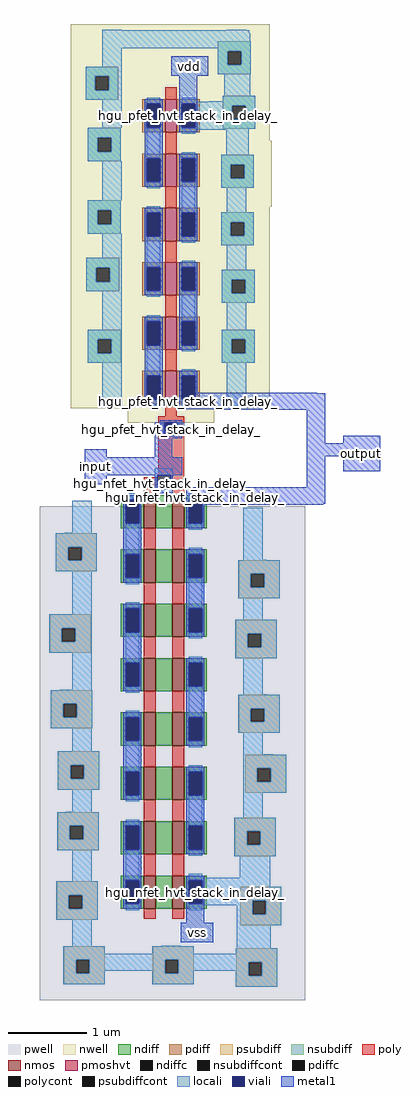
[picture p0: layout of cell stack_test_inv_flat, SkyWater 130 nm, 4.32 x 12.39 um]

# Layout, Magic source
magic
tech sky130A
magscale 1 2
<< nwell >>
rect -98 1976 408 2272
rect -98 1808 413 1976
rect -98 1296 408 1808
rect 47 1259 267 1296
<< pwell >>
rect -176 -206 498 1048
<< nmos >>
rect 88 992 118 1076
rect 160 992 190 1076
rect 88 854 118 938
rect 160 854 190 938
rect 88 716 118 800
rect 160 716 190 800
rect 88 578 118 662
rect 160 578 190 662
rect 88 440 118 524
rect 160 440 190 524
rect 88 302 118 386
rect 160 302 190 386
rect 88 164 118 248
rect 160 164 190 248
rect 88 26 118 110
rect 160 26 190 110
<< pmoshvt >>
rect 142 1997 172 2081
rect 142 1859 172 1943
rect 142 1721 172 1805
rect 142 1583 172 1667
rect 142 1445 172 1529
rect 142 1307 172 1391
<< ndiff >>
rect 30 1064 88 1076
rect 30 1004 42 1064
rect 76 1004 88 1064
rect 30 992 88 1004
rect 118 992 160 1076
rect 190 1064 248 1076
rect 190 1004 202 1064
rect 236 1004 248 1064
rect 190 992 248 1004
rect 30 926 88 938
rect 30 866 42 926
rect 76 866 88 926
rect 30 854 88 866
rect 118 854 160 938
rect 190 926 248 938
rect 190 866 202 926
rect 236 866 248 926
rect 190 854 248 866
rect 30 788 88 800
rect 30 728 42 788
rect 76 728 88 788
rect 30 716 88 728
rect 118 716 160 800
rect 190 788 248 800
rect 190 728 202 788
rect 236 728 248 788
rect 190 716 248 728
rect 30 650 88 662
rect 30 590 42 650
rect 76 590 88 650
rect 30 578 88 590
rect 118 578 160 662
rect 190 650 248 662
rect 190 590 202 650
rect 236 590 248 650
rect 190 578 248 590
rect 30 512 88 524
rect 30 452 42 512
rect 76 452 88 512
rect 30 440 88 452
rect 118 440 160 524
rect 190 512 248 524
rect 190 452 202 512
rect 236 452 248 512
rect 190 440 248 452
rect 30 374 88 386
rect 30 314 42 374
rect 76 314 88 374
rect 30 302 88 314
rect 118 302 160 386
rect 190 374 248 386
rect 190 314 202 374
rect 236 314 248 374
rect 190 302 248 314
rect 30 236 88 248
rect 30 176 42 236
rect 76 176 88 236
rect 30 164 88 176
rect 118 164 160 248
rect 190 236 248 248
rect 190 176 202 236
rect 236 176 248 236
rect 190 164 248 176
rect 30 98 88 110
rect 30 38 42 98
rect 76 38 88 98
rect 30 26 88 38
rect 118 26 160 110
rect 190 98 248 110
rect 190 38 202 98
rect 236 38 248 98
rect 190 26 248 38
<< pdiff >>
rect 84 2069 142 2081
rect 84 2009 96 2069
rect 130 2009 142 2069
rect 84 1997 142 2009
rect 172 2069 230 2081
rect 172 2009 184 2069
rect 218 2009 230 2069
rect 172 1997 230 2009
rect 84 1931 142 1943
rect 84 1871 96 1931
rect 130 1871 142 1931
rect 84 1859 142 1871
rect 172 1931 230 1943
rect 172 1871 184 1931
rect 218 1871 230 1931
rect 172 1859 230 1871
rect 84 1793 142 1805
rect 84 1733 96 1793
rect 130 1733 142 1793
rect 84 1721 142 1733
rect 172 1793 230 1805
rect 172 1733 184 1793
rect 218 1733 230 1793
rect 172 1721 230 1733
rect 84 1655 142 1667
rect 84 1595 96 1655
rect 130 1595 142 1655
rect 84 1583 142 1595
rect 172 1655 230 1667
rect 172 1595 184 1655
rect 218 1595 230 1655
rect 172 1583 230 1595
rect 84 1517 142 1529
rect 84 1457 96 1517
rect 130 1457 142 1517
rect 84 1445 142 1457
rect 172 1517 230 1529
rect 172 1457 184 1517
rect 218 1457 230 1517
rect 172 1445 230 1457
rect 84 1379 142 1391
rect 84 1319 96 1379
rect 130 1319 142 1379
rect 84 1307 142 1319
rect 172 1379 230 1391
rect 172 1319 184 1379
rect 218 1319 230 1379
rect 172 1307 230 1319
<< ndiffc >>
rect 42 1004 76 1064
rect 202 1004 236 1064
rect 42 866 76 926
rect 202 866 236 926
rect 42 728 76 788
rect 202 728 236 788
rect 42 590 76 650
rect 202 590 236 650
rect 42 452 76 512
rect 202 452 236 512
rect 42 314 76 374
rect 202 314 236 374
rect 42 176 76 236
rect 202 176 236 236
rect 42 38 76 98
rect 202 38 236 98
<< pdiffc >>
rect 96 2009 130 2069
rect 184 2009 218 2069
rect 96 1871 130 1931
rect 184 1871 218 1931
rect 96 1733 130 1793
rect 184 1733 218 1793
rect 96 1595 130 1655
rect 184 1595 218 1655
rect 96 1457 130 1517
rect 184 1457 218 1517
rect 96 1319 130 1379
rect 184 1319 218 1379
<< psubdiff >>
rect -135 944 -31 979
rect -135 910 -104 944
rect -70 910 -31 944
rect -135 882 -31 910
rect 329 876 433 911
rect 329 842 360 876
rect 394 842 433 876
rect 329 814 433 842
rect -151 738 -47 773
rect -151 704 -120 738
rect -86 704 -47 738
rect 321 724 425 759
rect -151 676 -47 704
rect 321 690 352 724
rect 386 690 425 724
rect 321 662 425 690
rect -147 546 -43 581
rect -147 512 -116 546
rect -82 512 -43 546
rect 329 534 433 569
rect -147 484 -43 512
rect 329 500 360 534
rect 394 500 433 534
rect 329 472 433 500
rect -129 390 -25 425
rect -129 356 -98 390
rect -64 356 -25 390
rect -129 328 -25 356
rect 345 382 449 417
rect 345 348 376 382
rect 410 348 449 382
rect 345 320 449 348
rect -131 236 -27 271
rect -131 202 -100 236
rect -66 202 -27 236
rect -131 174 -27 202
rect 319 222 423 257
rect 319 188 350 222
rect 384 188 423 222
rect 319 159 423 188
rect -133 60 -29 95
rect -133 26 -102 60
rect -68 26 -29 60
rect 333 46 437 81
rect -133 -2 -29 26
rect 333 12 364 46
rect 398 12 437 46
rect 333 -16 437 12
rect -115 -104 -11 -69
rect -115 -138 -84 -104
rect -50 -138 -11 -104
rect -115 -166 -11 -138
rect 111 -104 215 -69
rect 111 -138 142 -104
rect 176 -138 215 -104
rect 111 -166 215 -138
rect 323 -110 427 -75
rect 323 -144 354 -110
rect 388 -144 427 -110
rect 323 -172 427 -144
<< nsubdiff >>
rect 276 2203 359 2228
rect 276 2168 301 2203
rect 335 2168 359 2203
rect -60 2139 23 2164
rect 276 2144 359 2168
rect -60 2104 -35 2139
rect -1 2104 23 2139
rect -60 2080 23 2104
rect -54 1983 29 2008
rect 288 2065 371 2090
rect 288 2030 313 2065
rect 347 2030 371 2065
rect 288 2006 371 2030
rect -54 1948 -29 1983
rect 5 1948 29 1983
rect -54 1924 29 1948
rect 284 1915 367 1940
rect 284 1880 309 1915
rect 343 1880 367 1915
rect -54 1799 29 1824
rect 284 1856 367 1880
rect -54 1764 -29 1799
rect 5 1764 29 1799
rect -54 1740 29 1764
rect 284 1769 367 1794
rect 284 1734 309 1769
rect 343 1734 367 1769
rect -58 1653 25 1678
rect 284 1710 367 1734
rect -58 1618 -33 1653
rect 1 1618 25 1653
rect -58 1594 25 1618
rect 286 1623 369 1648
rect 286 1588 311 1623
rect 345 1588 369 1623
rect 286 1564 369 1588
rect -54 1471 29 1496
rect -54 1436 -29 1471
rect 5 1436 29 1471
rect 286 1471 369 1496
rect -54 1412 29 1436
rect 286 1436 311 1471
rect 345 1436 369 1471
rect 286 1412 369 1436
<< psubdiffcont >>
rect -104 910 -70 944
rect 360 842 394 876
rect -120 704 -86 738
rect 352 690 386 724
rect -116 512 -82 546
rect 360 500 394 534
rect -98 356 -64 390
rect 376 348 410 382
rect -100 202 -66 236
rect 350 188 384 222
rect -102 26 -68 60
rect 364 12 398 46
rect -84 -138 -50 -104
rect 142 -138 176 -104
rect 354 -144 388 -110
<< nsubdiffcont >>
rect 301 2168 335 2203
rect -35 2104 -1 2139
rect 313 2030 347 2065
rect -29 1948 5 1983
rect 309 1880 343 1915
rect -29 1764 5 1799
rect 309 1734 343 1769
rect -33 1618 1 1653
rect 311 1588 345 1623
rect -29 1436 5 1471
rect 311 1436 345 1471
<< poly >>
rect 142 2081 172 2111
rect 142 1943 172 1997
rect 142 1805 172 1859
rect 142 1667 172 1721
rect 142 1529 172 1583
rect 142 1391 172 1445
rect 142 1276 172 1307
rect 124 1260 190 1276
rect 124 1226 140 1260
rect 174 1226 190 1260
rect 124 1121 190 1226
rect 88 1091 190 1121
rect 88 1076 118 1091
rect 160 1076 190 1091
rect 88 938 118 992
rect 160 938 190 992
rect 88 800 118 854
rect 160 800 190 854
rect 88 662 118 716
rect 160 662 190 716
rect 88 524 118 578
rect 160 524 190 578
rect 88 386 118 440
rect 160 386 190 440
rect 88 248 118 302
rect 160 248 190 302
rect 88 110 118 164
rect 160 110 190 164
rect 88 0 118 26
rect 160 0 190 26
<< polycont >>
rect 140 1226 174 1260
<< locali >>
rect -18 2256 32 2258
rect 298 2256 348 2258
rect -18 2248 356 2256
rect -18 2228 358 2248
rect -18 2210 359 2228
rect -18 2164 32 2210
rect -60 2139 32 2164
rect 276 2203 359 2210
rect 276 2168 301 2203
rect 335 2168 359 2203
rect 276 2144 359 2168
rect -60 2104 -35 2139
rect -1 2104 32 2139
rect -60 2080 32 2104
rect 292 2090 358 2144
rect -18 2008 32 2080
rect 96 2069 130 2085
rect -54 1983 29 2008
rect -54 1948 -29 1983
rect 5 1948 29 1983
rect -54 1924 29 1948
rect 96 1931 130 2009
rect 184 2075 218 2085
rect 288 2076 371 2090
rect 253 2075 371 2076
rect 184 2069 371 2075
rect 218 2065 371 2069
rect 218 2030 313 2065
rect 347 2030 371 2065
rect 218 2009 371 2030
rect 184 2006 371 2009
rect 184 2004 354 2006
rect 184 1993 218 2004
rect -18 1824 32 1924
rect 96 1855 130 1871
rect 184 1931 218 1947
rect 297 1940 354 2004
rect -54 1799 29 1824
rect -54 1764 -29 1799
rect 5 1764 29 1799
rect -54 1740 29 1764
rect 96 1793 130 1809
rect -18 1678 32 1740
rect -58 1653 32 1678
rect -58 1618 -33 1653
rect 1 1618 32 1653
rect -58 1594 32 1618
rect -18 1496 32 1594
rect 96 1655 130 1733
rect 184 1793 218 1871
rect 284 1915 367 1940
rect 284 1880 309 1915
rect 343 1880 367 1915
rect 284 1856 367 1880
rect 298 1794 348 1856
rect 184 1717 218 1733
rect 284 1769 367 1794
rect 284 1734 309 1769
rect 343 1734 367 1769
rect 284 1710 367 1734
rect 96 1579 130 1595
rect 184 1655 218 1671
rect 298 1648 348 1710
rect -54 1471 32 1496
rect -54 1436 -29 1471
rect 5 1436 32 1471
rect -54 1412 32 1436
rect -18 1302 32 1412
rect 96 1517 130 1533
rect 96 1379 130 1457
rect 184 1517 218 1595
rect 286 1623 369 1648
rect 286 1588 311 1623
rect 345 1588 369 1623
rect 286 1564 369 1588
rect 298 1496 348 1564
rect 184 1441 218 1457
rect 286 1471 369 1496
rect 286 1436 311 1471
rect 345 1436 369 1471
rect 286 1412 369 1436
rect 96 1303 130 1319
rect 184 1379 218 1395
rect 184 1303 218 1319
rect 298 1302 348 1412
rect 124 1226 140 1260
rect 174 1226 190 1260
rect 116 1126 162 1144
rect 116 1092 122 1126
rect 156 1092 162 1126
rect 116 1080 162 1092
rect 42 1064 76 1080
rect -94 980 -44 1062
rect -114 979 -44 980
rect -136 944 -31 979
rect -136 910 -104 944
rect -70 910 -31 944
rect -136 882 -31 910
rect 42 926 76 1004
rect 202 1064 236 1080
rect 202 988 236 1004
rect -94 774 -44 882
rect 42 850 76 866
rect 202 926 236 942
rect 340 912 390 1044
rect 340 911 400 912
rect -130 773 -44 774
rect -152 738 -44 773
rect -152 704 -120 738
rect -86 704 -44 738
rect -152 676 -44 704
rect -94 582 -44 676
rect -126 581 -44 582
rect 42 788 76 804
rect 42 650 76 728
rect 202 788 236 866
rect 328 876 433 911
rect 328 842 360 876
rect 394 842 433 876
rect 328 814 433 842
rect 340 760 390 814
rect 340 759 392 760
rect 202 712 236 728
rect 320 724 425 759
rect 320 690 352 724
rect 386 690 425 724
rect -148 546 -43 581
rect 42 574 76 590
rect 202 650 236 666
rect 320 662 425 690
rect -148 512 -116 546
rect -82 512 -43 546
rect -148 484 -43 512
rect 42 512 76 528
rect -94 426 -44 484
rect -108 425 -44 426
rect -130 390 -25 425
rect -130 356 -98 390
rect -64 356 -25 390
rect -130 328 -25 356
rect 42 374 76 452
rect 202 512 236 590
rect 340 570 390 662
rect 340 569 400 570
rect 328 534 433 569
rect 328 500 360 534
rect 394 500 433 534
rect 328 472 433 500
rect 202 436 236 452
rect 340 418 390 472
rect 340 417 416 418
rect -94 272 -44 328
rect 42 298 76 314
rect 202 374 236 390
rect -110 271 -44 272
rect -132 236 -27 271
rect -132 202 -100 236
rect -66 202 -27 236
rect -132 174 -27 202
rect 42 236 76 252
rect -94 96 -44 174
rect -112 95 -44 96
rect 42 98 76 176
rect 202 236 236 314
rect 340 382 449 417
rect 340 348 376 382
rect 410 348 449 382
rect 340 320 449 348
rect 340 257 390 320
rect 202 160 236 176
rect 318 222 423 257
rect 318 188 350 222
rect 384 188 423 222
rect 318 159 423 188
rect -134 60 -29 95
rect -134 26 -102 60
rect -68 26 -29 60
rect -134 -2 -29 26
rect 42 22 76 38
rect 202 104 236 114
rect 332 104 409 159
rect 202 98 409 104
rect 236 81 409 98
rect 236 46 437 81
rect 236 38 364 46
rect 202 35 364 38
rect 202 22 236 35
rect 324 12 364 35
rect 398 12 437 46
rect -94 -69 -44 -2
rect 324 -16 437 12
rect 132 -69 182 -68
rect -116 -88 -11 -69
rect 110 -88 215 -69
rect 324 -75 410 -16
rect 322 -88 427 -75
rect -116 -104 427 -88
rect -116 -138 -84 -104
rect -50 -132 142 -104
rect -50 -138 -11 -132
rect -116 -166 -11 -138
rect 110 -138 142 -132
rect 176 -110 427 -104
rect 176 -132 354 -110
rect 176 -138 215 -132
rect 110 -166 215 -138
rect 322 -144 354 -132
rect 388 -144 427 -110
rect 322 -172 427 -144
<< viali >>
rect 96 2009 130 2069
rect 184 2009 218 2069
rect 96 1871 130 1931
rect 184 1871 218 1931
rect 96 1733 130 1793
rect 184 1733 218 1793
rect 96 1595 130 1655
rect 184 1595 218 1655
rect 96 1457 130 1517
rect 184 1457 218 1517
rect 96 1319 130 1379
rect 184 1319 218 1379
rect 140 1226 174 1260
rect 122 1092 156 1126
rect 42 1004 76 1064
rect 202 1004 236 1064
rect 42 866 76 926
rect 202 866 236 926
rect 42 728 76 788
rect 202 728 236 788
rect 42 590 76 650
rect 202 590 236 650
rect 42 452 76 512
rect 202 452 236 512
rect 42 314 76 374
rect 202 314 236 374
rect 42 176 76 236
rect 202 176 236 236
rect 42 38 76 98
rect 202 38 236 98
<< metal1 >>
rect 158 2140 252 2190
rect 90 2069 136 2081
rect 90 2009 96 2069
rect 130 2009 136 2069
rect 90 1931 136 2009
rect 178 2069 224 2140
rect 178 2009 184 2069
rect 218 2009 224 2069
rect 178 1997 224 2009
rect 90 1871 96 1931
rect 130 1871 136 1931
rect 90 1859 136 1871
rect 178 1931 224 1943
rect 178 1871 184 1931
rect 218 1871 224 1931
rect 90 1793 136 1805
rect 90 1733 96 1793
rect 130 1733 136 1793
rect 90 1655 136 1733
rect 178 1793 224 1871
rect 178 1733 184 1793
rect 218 1733 224 1793
rect 178 1721 224 1733
rect 90 1595 96 1655
rect 130 1595 136 1655
rect 90 1583 136 1595
rect 178 1655 224 1667
rect 178 1595 184 1655
rect 218 1595 224 1655
rect 90 1517 136 1529
rect 90 1457 96 1517
rect 130 1457 136 1517
rect 90 1379 136 1457
rect 178 1517 224 1595
rect 178 1457 184 1517
rect 218 1457 224 1517
rect 178 1445 224 1457
rect 90 1319 96 1379
rect 130 1319 136 1379
rect 90 1307 136 1319
rect 178 1379 224 1391
rect 178 1319 184 1379
rect 218 1336 224 1379
rect 218 1334 528 1336
rect 218 1319 548 1334
rect 178 1294 548 1319
rect 280 1292 548 1294
rect 128 1260 186 1266
rect 116 1226 140 1260
rect 174 1226 186 1260
rect 116 1220 186 1226
rect -62 1172 -6 1192
rect 116 1172 160 1220
rect 502 1208 548 1292
rect 594 1208 688 1226
rect 502 1174 688 1208
rect -62 1126 186 1172
rect -62 1104 -6 1126
rect 116 1092 122 1126
rect 156 1092 162 1126
rect 502 1096 548 1174
rect 594 1136 688 1174
rect 116 1080 162 1092
rect 36 1064 82 1076
rect 36 1004 42 1064
rect 76 1004 82 1064
rect 36 926 82 1004
rect 196 1064 548 1096
rect 196 1004 202 1064
rect 236 1054 548 1064
rect 236 1052 544 1054
rect 236 1004 242 1052
rect 196 992 242 1004
rect 36 866 42 926
rect 76 866 82 926
rect 36 854 82 866
rect 196 926 242 938
rect 196 866 202 926
rect 236 866 242 926
rect 36 788 82 800
rect 36 728 42 788
rect 76 728 82 788
rect 36 650 82 728
rect 196 788 242 866
rect 196 728 202 788
rect 236 728 242 788
rect 196 716 242 728
rect 36 590 42 650
rect 76 590 82 650
rect 36 578 82 590
rect 196 650 242 662
rect 196 590 202 650
rect 236 590 242 650
rect 36 512 82 524
rect 36 452 42 512
rect 76 452 82 512
rect 36 374 82 452
rect 196 512 242 590
rect 196 452 202 512
rect 236 452 242 512
rect 196 440 242 452
rect 36 314 42 374
rect 76 314 82 374
rect 36 302 82 314
rect 196 374 242 386
rect 196 314 202 374
rect 236 314 242 374
rect 36 236 82 248
rect 36 176 42 236
rect 76 176 82 236
rect 36 98 82 176
rect 196 236 242 314
rect 196 176 202 236
rect 236 176 242 236
rect 196 164 242 176
rect 36 38 42 98
rect 76 38 82 98
rect 36 26 82 38
rect 196 98 242 110
rect 196 38 202 98
rect 236 38 242 98
rect 196 -10 242 38
rect 182 -60 264 -10
<< labels >>
flabel metal1 182 -60 264 -10 0 FreeSans 320 0 0 0 vss
port 1 nsew
flabel metal1 -62 1104 -6 1192 0 FreeSans 320 0 0 0 input
port 2 nsew
flabel metal1 158 2140 252 2190 0 FreeSans 320 0 0 0 vdd
port 0 nsew
flabel metal1 594 1136 688 1226 0 FreeSans 320 0 0 0 output
port 4 nsew
flabel metal1 140 1226 174 1260 0 FreeSans 320 0 0 0 hgu_pfet_hvt_stack_in_delay_0.input_stack
flabel nwell 184 2009 218 2069 0 FreeSans 320 0 0 0 hgu_pfet_hvt_stack_in_delay_0.vdd
flabel metal1 178 1307 224 1319 0 FreeSans 320 0 0 0 hgu_pfet_hvt_stack_in_delay_0.output_stack
flabel poly 88 1091 190 1121 0 FreeSans 320 0 0 0 hgu_nfet_hvt_stack_in_delay_0.input_stack
flabel metal1 202 38 236 98 0 FreeSans 320 0 0 0 hgu_nfet_hvt_stack_in_delay_0.vss
flabel metal1 196 1064 242 1076 0 FreeSans 320 0 0 0 hgu_nfet_hvt_stack_in_delay_0.output_stack
<< end >>
